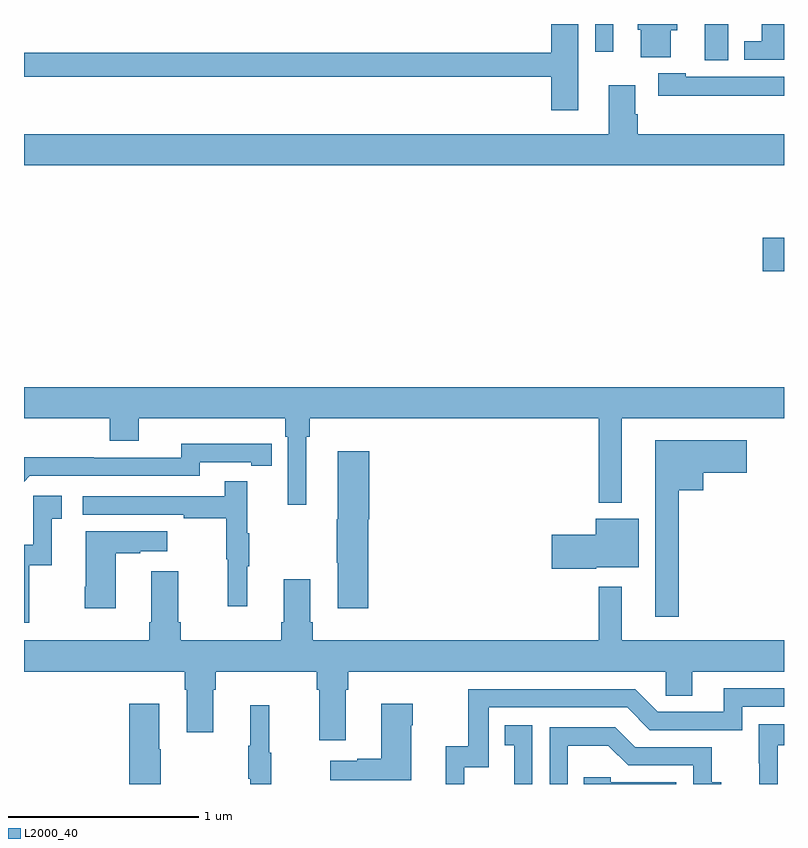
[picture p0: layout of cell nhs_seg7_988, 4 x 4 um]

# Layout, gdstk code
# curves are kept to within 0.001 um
import gdstk
lib = gdstk.Library(unit=1e-6, precision=1e-09)
def R(c, l, rs):  # rectangles x0, y0, x1, y1
    for r in rs: c.add(gdstk.rectangle(r[:2], r[2:], *l))
def P(c, l, *ps):  # polygons
    for p in ps: c.add(gdstk.Polygon(p, *l))
L2000_40 = (2000, 40)

nhs_seg7_988 = lib.new_cell('nhs_seg7_988')
R(nhs_seg7_988, L2000_40, [(186.888,1026.698,187,1026.876), (186.584,1027.808,186.706,1028), (186.006,1027.853,186.102,1028)])
P(nhs_seg7_988, L2000_40, [(185.917,1028),(185.774,1028),(185.774,1027.85),(183,1027.85),(183,1027.722),(185.774,1027.722),(185.774,1027.545),(185.917,1027.545)],
  [(186.403,1027.967),(186.439,1027.967),(186.439,1028),(186.23,1028),(186.23,1027.971),(186.245,1027.971),(186.245,1027.826),(186.403,1027.826)],
  [(187,1028),(186.884,1028),(186.884,1027.908),(186.791,1027.908),(186.791,1027.812),(187,1027.812)],
  [(187,1027.723),(186.483,1027.723),(186.483,1027.741),(186.339,1027.741),(186.339,1027.622),(187,1027.622)],
  [(187,1027.42),(186.23,1027.42),(186.23,1027.526),(186.217,1027.526),(186.217,1027.678),(186.077,1027.678),(186.077,1027.42),(183,1027.42),(183,1027.256),(187,1027.256)],
  [(184.486,1025.828),(184.505,1025.828),(184.505,1025.924),(186.024,1025.924),(186.024,1025.48),(186.145,1025.48),(186.145,1025.924),(187,1025.924),(187,1026.088),(183,1026.088),(183,1025.924),(183.452,1025.924),(183.452,1025.807),(183.604,1025.807),(183.604,1025.924),(184.376,1025.924),(184.376,1025.828),(184.389,1025.828),(184.389,1025.469),(184.486,1025.469)],
  [(186.445,1025.546),(186.574,1025.546),(186.574,1025.639),(186.805,1025.639),(186.805,1025.809),(186.323,1025.809),(186.323,1024.881),(186.445,1024.881)],
  [(183.03,1025.622),(183.924,1025.622),(183.924,1025.694),(184.196,1025.694),(184.196,1025.674),(184.304,1025.674),(184.304,1025.79),(183.828,1025.791),(183.828,1025.718),(183.368,1025.718),(183.368,1025.72),(183,1025.72),(183,1025.592)],
  [(184.811,1025.394),(184.816,1025.394),(184.816,1025.752),(184.652,1025.752),(184.652,1025.394),(184.645,1025.394),(184.645,1025.164),(184.652,1025.164),(184.652,1024.926),(184.811,1024.926)],
  [(184.175,1025.147),(184.186,1025.147),(184.186,1025.321),(184.175,1025.321),(184.175,1025.593),(184.057,1025.593),(184.057,1025.514),(183.309,1025.514),(183.309,1025.418),(183.841,1025.418),(183.841,1025.398),(184.065,1025.398),(184.065,1025.184),(184.072,1025.184),(184.072,1024.935),(184.175,1024.935)],
  [(183.028,1025.151),(183.146,1025.151),(183.146,1025.397),(183.199,1025.397),(183.199,1025.518),(183.048,1025.518),(183.048,1025.259),(183,1025.259),(183,1024.848),(183.028,1024.848)],
  [(186.012,1025.141),(186.235,1025.141),(186.235,1025.395),(186.008,1025.395),(186.008,1025.312),(185.778,1025.312),(185.778,1025.134),(186.012,1025.134)],
  [(183.484,1025.215),(183.611,1025.215),(183.611,1025.225),(183.754,1025.225),(183.754,1025.329),(183.326,1025.329),(183.326,1025.038),(183.319,1025.038),(183.319,1024.926),(183.484,1024.926)],
  [(184.693,1024.496),(184.706,1024.496),(184.706,1024.592),(186.378,1024.592),(186.378,1024.465),(186.517,1024.465),(186.517,1024.592),(187,1024.592),(187,1024.756),(186.145,1024.756),(186.145,1025.038),(186.024,1025.038),(186.024,1024.756),(184.52,1024.756),(184.52,1024.852),(184.507,1024.852),(184.507,1025.077),(184.367,1025.077),(184.367,1024.852),(184.355,1024.852),(184.355,1024.756),(183.824,1024.756),(183.824,1024.852),(183.811,1024.852),(183.811,1025.119),(183.671,1025.119),(183.671,1024.852),(183.659,1024.852),(183.659,1024.756),(183,1024.756),(183,1024.592),(183.845,1024.592),(183.845,1024.496),(183.857,1024.496),(183.857,1024.272),(183.997,1024.272),(183.997,1024.496),(184.01,1024.496),(184.01,1024.592),(184.541,1024.592),(184.541,1024.496),(184.553,1024.496),(184.553,1024.23),(184.693,1024.23)],
  [(185.316,1024.089),(185.445,1024.089),(185.445,1024.404),(186.174,1024.404),(186.294,1024.284),(186.78,1024.284),(186.78,1024.407),(187,1024.407),(187,1024.503),(186.683,1024.503),(186.683,1024.38),(186.336,1024.38),(186.216,1024.5),(185.337,1024.5),(185.337,1024.198),(185.219,1024.198),(185.219,1024),(185.316,1024)],
  [(185.038,1024.31),(185.046,1024.31),(185.046,1024.423),(184.88,1024.423),(184.88,1024.133),(184.754,1024.133),(184.754,1024.123),(184.611,1024.123),(184.611,1024.019),(185.038,1024.019)],
  [(183.72,1024.184),(183.712,1024.184),(183.712,1024.423),(183.554,1024.423),(183.554,1024),(183.72,1024)],
  [(184.3,1024.164),(184.292,1024.164),(184.292,1024.414),(184.19,1024.414),(184.19,1024.201),(184.179,1024.201),(184.179,1024.027),(184.19,1024.027),(184.19,1024),(184.3,1024)],
  [(186.968,1024.205),(187,1024.205),(187,1024.315),(186.868,1024.315),(186.868,1024.109),(186.869,1024.109),(186.869,1024),(186.968,1024)],
  [(185.676,1024.309),(185.53,1024.309),(185.53,1024.203),(185.579,1024.203),(185.579,1024),(185.676,1024)],
  [(185.862,1024.202),(186.076,1024.202),(186.18,1024.098),(186.522,1024.098),(186.522,1024),(186.67,1024),(186.67,1024.009),(186.621,1024.009),(186.621,1024.194),(186.217,1024.194),(186.112,1024.299),(185.766,1024.299),(185.766,1024),(185.862,1024)],
  [(186.432,1024.008),(186.087,1024.008),(186.087,1024.035),(185.947,1024.035),(185.947,1024),(186.432,1024)])

lib.write_gds('nhs_seg7_988.gds')
